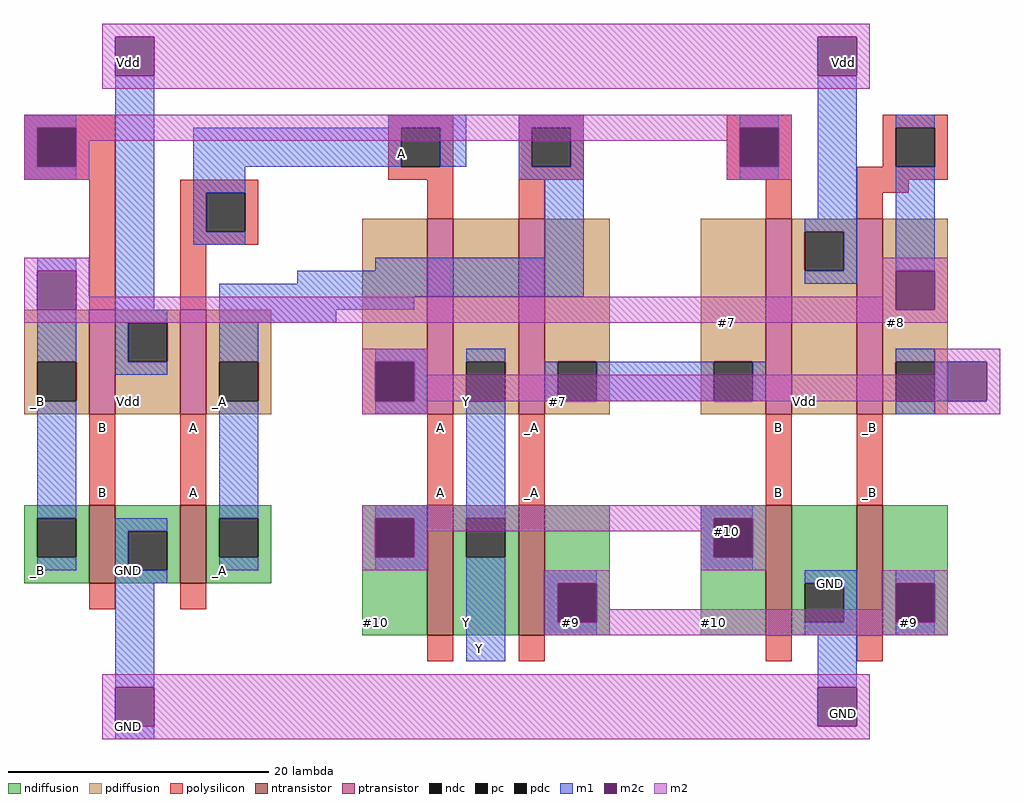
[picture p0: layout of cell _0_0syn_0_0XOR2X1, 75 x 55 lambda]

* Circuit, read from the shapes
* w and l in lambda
.subckt _0_0syn_0_0XOR2X1 GND Vdd Y A
M1 GND B _B VSUBS nfet w=6 l=2
M2 _A A GND VSUBS nfet w=6 l=2
M3 Y A #10 VSUBS nfet w=10 l=2
M4 #9 _A Y VSUBS nfet w=10 l=2
M5 GND B #10 VSUBS nfet w=10 l=2
M6 #9 _B GND VSUBS nfet w=10 l=2
M7 Vdd B _B NWELL pfet w=8 l=2
M8 _A A Vdd NWELL pfet w=8 l=2
M9 Y A #8 NWELL pfet w=15 l=2
M10 #7 _A Y NWELL pfet w=15 l=2
M11 Vdd B #7 NWELL pfet w=15 l=2
M12 #8 _B Vdd NWELL pfet w=15 l=2
.ends

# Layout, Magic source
magic
tech sky130l
<< ndiffusion >>
rect 8 15 13 16
rect 8 12 9 15
rect 12 12 13 15
rect 8 10 13 12
rect 15 14 20 16
rect 15 11 16 14
rect 19 11 20 14
rect 15 10 20 11
rect 22 15 27 16
rect 22 12 23 15
rect 26 12 27 15
rect 22 10 27 12
rect 34 15 39 16
rect 34 12 35 15
rect 38 12 39 15
rect 34 6 39 12
rect 41 15 46 16
rect 41 12 42 15
rect 45 12 46 15
rect 41 6 46 12
rect 48 10 53 16
rect 48 7 49 10
rect 52 7 53 10
rect 48 6 53 7
rect 60 15 65 16
rect 60 12 61 15
rect 64 12 65 15
rect 60 6 65 12
rect 67 10 72 16
rect 67 7 68 10
rect 71 7 72 10
rect 67 6 72 7
rect 74 10 79 16
rect 74 7 75 10
rect 78 7 79 10
rect 74 6 79 7
<< ndc >>
rect 9 12 12 15
rect 16 11 19 14
rect 23 12 26 15
rect 35 12 38 15
rect 42 12 45 15
rect 49 7 52 10
rect 61 12 64 15
rect 68 7 71 10
rect 75 7 78 10
<< ntransistor >>
rect 13 10 15 16
rect 20 10 22 16
rect 39 6 41 16
rect 46 6 48 16
rect 65 6 67 16
rect 72 6 74 16
<< pdiffusion >>
rect 8 27 13 31
rect 8 24 9 27
rect 12 24 13 27
rect 8 23 13 24
rect 15 30 20 31
rect 15 27 16 30
rect 19 27 20 30
rect 15 23 20 27
rect 22 27 27 31
rect 22 24 23 27
rect 26 24 27 27
rect 22 23 27 24
rect 34 27 39 38
rect 34 24 35 27
rect 38 24 39 27
rect 34 23 39 24
rect 41 27 46 38
rect 41 24 42 27
rect 45 24 46 27
rect 41 23 46 24
rect 48 27 53 38
rect 48 24 49 27
rect 52 24 53 27
rect 48 23 53 24
rect 60 27 65 38
rect 60 24 61 27
rect 64 24 65 27
rect 60 23 65 24
rect 67 37 72 38
rect 67 34 68 37
rect 71 34 72 37
rect 67 23 72 34
rect 74 27 79 38
rect 74 24 75 27
rect 78 24 79 27
rect 74 23 79 24
<< pdc >>
rect 9 24 12 27
rect 16 27 19 30
rect 23 24 26 27
rect 35 24 38 27
rect 42 24 45 27
rect 49 24 52 27
rect 61 24 64 27
rect 68 34 71 37
rect 75 24 78 27
<< ptransistor >>
rect 13 23 15 31
rect 20 23 22 31
rect 39 23 41 38
rect 46 23 48 38
rect 65 23 67 38
rect 72 23 74 38
<< polysilicon >>
rect 8 45 15 46
rect 8 42 9 45
rect 12 42 15 45
rect 8 41 15 42
rect 36 45 41 46
rect 36 42 37 45
rect 40 42 41 45
rect 36 41 41 42
rect 13 31 15 41
rect 20 40 26 41
rect 20 37 22 40
rect 25 37 26 40
rect 39 38 41 41
rect 46 45 51 46
rect 46 42 47 45
rect 50 42 51 45
rect 46 41 51 42
rect 62 45 67 46
rect 62 42 63 45
rect 66 42 67 45
rect 74 45 79 46
rect 74 42 75 45
rect 78 42 79 45
rect 62 41 67 42
rect 46 38 48 41
rect 65 38 67 41
rect 72 41 79 42
rect 72 40 76 41
rect 72 38 74 40
rect 20 36 26 37
rect 20 31 22 36
rect 13 16 15 23
rect 20 16 22 23
rect 39 16 41 23
rect 46 16 48 23
rect 65 16 67 23
rect 72 16 74 23
rect 13 8 15 10
rect 20 8 22 10
rect 39 4 41 6
rect 46 4 48 6
rect 65 4 67 6
rect 72 4 74 6
<< pc >>
rect 9 42 12 45
rect 37 42 40 45
rect 22 37 25 40
rect 47 42 50 45
rect 63 42 66 45
rect 75 42 78 45
<< m1 >>
rect 8 45 12 46
rect 8 42 9 45
rect 8 41 12 42
rect 9 34 12 35
rect 9 27 12 31
rect 15 31 18 49
rect 36 45 42 46
rect 21 42 37 45
rect 40 42 42 45
rect 46 45 51 46
rect 46 42 47 45
rect 50 42 51 45
rect 21 40 25 42
rect 46 41 51 42
rect 63 45 66 46
rect 63 41 66 42
rect 21 37 22 40
rect 21 36 25 37
rect 48 35 51 41
rect 69 38 72 49
rect 35 34 51 35
rect 29 33 51 34
rect 68 37 72 38
rect 71 34 72 37
rect 68 33 72 34
rect 75 45 78 46
rect 75 34 78 42
rect 23 32 51 33
rect 23 31 38 32
rect 15 30 19 31
rect 15 27 16 30
rect 15 26 19 27
rect 23 30 32 31
rect 23 27 26 30
rect 9 15 12 24
rect 23 15 26 24
rect 35 27 39 28
rect 38 24 39 27
rect 35 23 39 24
rect 42 27 45 28
rect 75 27 78 28
rect 48 24 49 27
rect 52 24 61 27
rect 64 24 65 27
rect 78 24 79 27
rect 9 11 12 12
rect 15 14 19 15
rect 15 11 16 14
rect 23 11 26 12
rect 35 15 39 16
rect 38 12 39 15
rect 35 11 39 12
rect 42 15 45 24
rect 75 23 78 24
rect 15 10 19 11
rect 15 2 18 10
rect 42 4 45 12
rect 60 15 64 16
rect 60 12 61 15
rect 60 11 64 12
rect 48 10 52 11
rect 48 7 49 10
rect 48 6 52 7
rect 68 10 72 11
rect 71 7 72 10
rect 68 6 72 7
rect 75 10 78 11
rect 75 6 78 7
rect 69 2 72 6
rect 15 -2 18 -1
<< m2c >>
rect 15 49 18 52
rect 9 42 12 45
rect 9 31 12 34
rect 69 49 72 52
rect 63 42 66 45
rect 75 31 78 34
rect 35 24 38 27
rect 79 24 82 27
rect 35 12 38 15
rect 61 12 64 15
rect 49 7 52 10
rect 75 7 78 10
rect 15 -1 18 2
rect 69 -1 72 2
<< m2 >>
rect 14 52 73 53
rect 14 49 15 52
rect 18 49 69 52
rect 72 49 73 52
rect 14 48 73 49
rect 8 45 67 46
rect 8 42 9 45
rect 12 44 63 45
rect 12 42 13 44
rect 8 41 13 42
rect 62 42 63 44
rect 66 42 67 45
rect 62 41 67 42
rect 8 34 13 35
rect 8 31 9 34
rect 12 32 13 34
rect 74 34 79 35
rect 74 32 75 34
rect 12 31 75 32
rect 78 31 79 34
rect 8 30 79 31
rect 34 27 39 28
rect 34 24 35 27
rect 38 26 39 27
rect 78 27 83 28
rect 78 26 79 27
rect 38 24 79 26
rect 82 24 83 27
rect 34 23 39 24
rect 78 23 83 24
rect 34 15 65 16
rect 34 12 35 15
rect 38 14 61 15
rect 38 12 39 14
rect 34 11 39 12
rect 60 12 61 14
rect 64 12 65 15
rect 60 11 65 12
rect 48 10 53 11
rect 48 7 49 10
rect 52 8 53 10
rect 74 10 79 11
rect 74 8 75 10
rect 52 7 75 8
rect 78 7 79 10
rect 48 6 79 7
rect 14 2 73 3
rect 14 -1 15 2
rect 18 -1 69 2
rect 72 -1 73 2
rect 14 -2 73 -1
<< labels >>
rlabel ndiffusion 61 7 61 7 3 #10
rlabel pdiffusion 68 24 68 24 3 Vdd
rlabel pdiffusion 42 24 42 24 3 Y
rlabel ndiffusion 42 7 42 7 3 Y
rlabel pdiffusion 49 24 49 24 3 #7
rlabel pdiffusion 9 24 9 24 3 _B
rlabel ndiffusion 9 11 9 11 3 _B
rlabel polysilicon 14 17 14 17 3 B
rlabel pdiffusion 16 24 16 24 3 Vdd
rlabel ndiffusion 16 11 16 11 3 GND
rlabel polysilicon 21 17 21 17 3 A
rlabel pdiffusion 23 24 23 24 3 _A
rlabel ndiffusion 23 11 23 11 3 _A
rlabel ndiffusion 35 7 35 7 1 #10
rlabel pdiffusion 62 30 62 30 1 #7
rlabel pdiffusion 75 30 75 30 1 #8
rlabel polysilicon 66 22 66 22 1 B
rlabel polysilicon 66 17 66 17 1 B
rlabel polysilicon 73 22 73 22 1 _B
rlabel polysilicon 73 17 73 17 1 _B
rlabel polysilicon 40 22 40 22 1 A
rlabel polysilicon 40 17 40 17 1 A
rlabel polysilicon 47 22 47 22 1 _A
rlabel polysilicon 47 17 47 17 1 _A
rlabel m1 37 43 37 43 3 A
port 5 e
rlabel ndiffusion 76 7 76 7 3 #9
rlabel ndiffusion 50 7 50 7 1 #9
rlabel m1 70 10 70 10 1 GND
rlabel m1 43 5 43 5 3 Y
port 4 e
rlabel m2c 71 0 71 0 1 GND
rlabel m1 16 -1 16 -1 3 GND
port 1 e
rlabel m2c 62 14 62 14 1 #10
rlabel m2c 16 50 16 50 3 Vdd
port 2 e
rlabel m2c 71 50 71 50 5 Vdd
rlabel polysilicon 21 22 21 22 3 A
rlabel polysilicon 14 22 14 22 3 B
<< end >>
